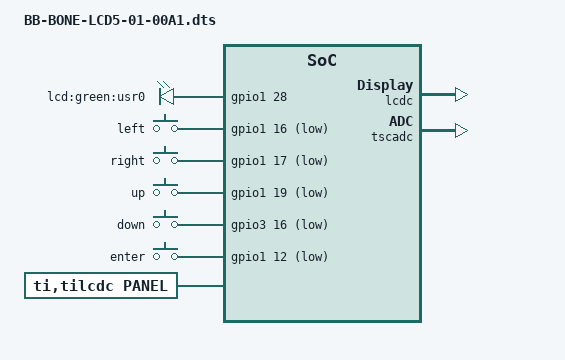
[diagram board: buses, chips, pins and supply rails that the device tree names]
/*
 * Copyright (C) 2016 Seeed Studio
 *
 * This program is free software; you can redistribute it and/or modify
 * it under the terms of the GNU General Public License version 2 as
 * published by the Free Software Foundation.
 */

/dts-v1/;
/plugin/;

#include <dt-bindings/gpio/gpio.h>
#include <dt-bindings/pinctrl/am33xx.h>
#include <dt-bindings/board/am335x-bbw-bbb-base.h>

/ {
	/*
	 * Helper to show loaded overlays under: /proc/device-tree/chosen/overlays/
	 */
	fragment@0 {
		target-path="/";
		__overlay__ {

			chosen {
				overlays {
					BB-BONE-LCD5-01-00A1 = __TIMESTAMP__;
				};
			};
		};
	};

	/*
	 * Free up the pins used by the cape from the pinmux helpers.
	 */
	fragment@1 {
		target = <&ocp>;
		__overlay__ {
			P9_12_pinmux { status = "disabled"; };	/* P9_12: gpmc_ben1.gpio1_28, INPUT | PULLDIS | MODE7 */

			P9_27_pinmux { status = "disabled"; };	/* P9_27: mcasp0_fsr.gpio3_19 */

			P8_45_pinmux { status = "disabled"; };	/* P8_45: lcd_data0.lcd_data0 */
			P8_46_pinmux { status = "disabled"; };	/* P8_46: lcd_data1.lcd_data1 */
			P8_43_pinmux { status = "disabled"; };	/* P8_43: lcd_data2.lcd_data2 */
			P8_44_pinmux { status = "disabled"; };	/* P8_44: lcd_data3.lcd_data3 */
			P8_41_pinmux { status = "disabled"; };	/* P8_41: lcd_data4.lcd_data4 */
			P8_42_pinmux { status = "disabled"; };	/* P8_42: lcd_data5.lcd_data5 */
			P8_39_pinmux { status = "disabled"; };	/* P8_39: lcd_data6.lcd_data6 */
			P8_40_pinmux { status = "disabled"; };	/* P8_40: lcd_data7.lcd_data7 */
			P8_37_pinmux { status = "disabled"; };	/* P8_37: lcd_data8.lcd_data8 */
			P8_38_pinmux { status = "disabled"; };	/* P8_38: lcd_data9.lcd_data9 */
			P8_36_pinmux { status = "disabled"; };	/* P8_36: lcd_data10.lcd_data10 */
			P8_34_pinmux { status = "disabled"; };	/* P8_34: lcd_data11.lcd_data11 */
			P8_35_pinmux { status = "disabled"; };	/* P8_35: lcd_data12.lcd_data12 */
			P8_33_pinmux { status = "disabled"; };	/* P8_33: lcd_data13.lcd_data13 */
			P8_31_pinmux { status = "disabled"; };	/* P8_31: lcd_data14.lcd_data14 */
			P8_32_pinmux { status = "disabled"; };	/* P8_32: lcd_data15.lcd_data15 */

			P8_27_pinmux { status = "disabled"; };	/* P8_27: lcd_vsync.lcd_vsync */
			P8_29_pinmux { status = "disabled"; };	/* P8_29: lcd_hsync.lcd_hsync */
			P8_28_pinmux { status = "disabled"; };	/* P8_28: lcd_pclk.lcd_pclk */
			P8_30_pinmux { status = "disabled"; };	/* P8_30: lcd_ac_bias_en.lcd_ac_bias_en */

			P9_15_pinmux { status = "disabled"; };	/* P9_15: gpmc_a0.gpio1_16 */
			P9_23_pinmux { status = "disabled"; };	/* P9_23: gpmc_a1.gpio1_17 */
			P9_16_pinmux { status = "disabled"; };	/* P9_16: gpmc_a3.gpio1_19 */
			P9_30_pinmux { status = "disabled"; };	/* P9_30: mcasp0_axr0.gpio3_16 */
			P8_12_pinmux { status = "disabled"; };	/* P8_12: GPIO.gpio1_13 */
		};
	};

	fragment@2 {
		target = <&am33xx_pinmux>;
		__overlay__ {

			bb_lcd_led_pins: pinmux_bb_lcd_led_pins {
				pinctrl-single,pins = <
					BONE_P9_12 (PIN_INPUT | MUX_MODE7)	/* P9_12: gpmc_ben1.gpio1_28, INPUT | PULLDIS | MODE7 */
				>;
			};

			bb_lcd_lcd_pins: pinmux_bb_lcd_lcd_pins {
				pinctrl-single,pins = <
					BONE_P9_27 (PIN_OUTPUT_PULLUP | MUX_MODE7)	/* P9_27: mcasp0_fsr.gpio3_19 */

					BONE_P8_45 (PIN_OUTPUT | MUX_MODE0)	/* P8_45: lcd_data0.lcd_data0 */
					BONE_P8_46 (PIN_OUTPUT | MUX_MODE0)	/* P8_46: lcd_data1.lcd_data1 */
					BONE_P8_43 (PIN_OUTPUT | MUX_MODE0)	/* P8_43: lcd_data2.lcd_data2 */
					BONE_P8_44 (PIN_OUTPUT | MUX_MODE0)	/* P8_44: lcd_data3.lcd_data3 */
					BONE_P8_41 (PIN_OUTPUT | MUX_MODE0)	/* P8_41: lcd_data4.lcd_data4 */
					BONE_P8_42 (PIN_OUTPUT | MUX_MODE0)	/* P8_42: lcd_data5.lcd_data5 */
					BONE_P8_39 (PIN_OUTPUT | MUX_MODE0)	/* P8_39: lcd_data6.lcd_data6 */
					BONE_P8_40 (PIN_OUTPUT | MUX_MODE0)	/* P8_40: lcd_data7.lcd_data7 */
					BONE_P8_37 (PIN_OUTPUT | MUX_MODE0)	/* P8_37: lcd_data8.lcd_data8 */
					BONE_P8_38 (PIN_OUTPUT | MUX_MODE0)	/* P8_38: lcd_data9.lcd_data9 */
					BONE_P8_36 (PIN_OUTPUT | MUX_MODE0)	/* P8_36: lcd_data10.lcd_data10 */
					BONE_P8_34 (PIN_OUTPUT | MUX_MODE0)	/* P8_34: lcd_data11.lcd_data11 */
					BONE_P8_35 (PIN_OUTPUT | MUX_MODE0)	/* P8_35: lcd_data12.lcd_data12 */
					BONE_P8_33 (PIN_OUTPUT | MUX_MODE0)	/* P8_33: lcd_data13.lcd_data13 */
					BONE_P8_31 (PIN_OUTPUT | MUX_MODE0)	/* P8_31: lcd_data14.lcd_data14 */
					BONE_P8_32 (PIN_OUTPUT | MUX_MODE0)	/* P8_32: lcd_data15.lcd_data15 */

					BONE_P8_27 (PIN_OUTPUT | MUX_MODE0)	/* P8_27: lcd_vsync.lcd_vsync */
					BONE_P8_29 (PIN_OUTPUT | MUX_MODE0)	/* P8_29: lcd_hsync.lcd_hsync */
					BONE_P8_28 (PIN_OUTPUT | MUX_MODE0)	/* P8_28: lcd_pclk.lcd_pclk */
					BONE_P8_30 (PIN_OUTPUT | MUX_MODE0)	/* P8_30: lcd_ac_bias_en.lcd_ac_bias_en */
				>;
			};

			bb_lcd_keymap_pins: pinmux_bb_lcd_keymap_pins {
				pinctrl-single,pins = <
					BONE_P9_15 (PIN_INPUT | MUX_MODE7)	/* P9_15: gpmc_a0.gpio1_16 */
					BONE_P9_23 (PIN_INPUT | MUX_MODE7)	/* P9_23: gpmc_a1.gpio1_17 */
					BONE_P9_16 (PIN_INPUT | MUX_MODE7)	/* P9_16: gpmc_a3.gpio1_19 */
					BONE_P9_30 (PIN_INPUT | MUX_MODE7)	/* P9_30: mcasp0_axr0.gpio3_16 */
					BONE_P8_12 (PIN_INPUT | MUX_MODE7)	/* P8_12: GPIO.gpio1_13 */
				>;
			};
		};
	};

	fragment@5 {
		target = <&lcdc>;
		__overlay__ {
			status = "okay";
		};
	};

	fragment@6 {
		target = <&tscadc>;
		__overlay__ {
			status = "okay";
			tsc {
				ti,wires = <4>;
				ti,x-plate-resistance = <200>;
				ti,coordinate-readouts = <5>;
				ti,wire-config = <0x00 0x11 0x22 0x33>;
				ti,charge-delay = <0x400>;
			};

			adc {
				ti,adc-channels = <4 5 6 7>;
			};
		};
	};

	fragment@7 {
		target-path="/";
		__overlay__ {
			gpio-leds-cape-lcd {
				compatible = "gpio-leds";
				pinctrl-names = "default";
				pinctrl-0 = <&bb_lcd_led_pins>;

				lcd-led0 {
					label = "lcd:green:usr0";
					gpios = <&gpio1 28 0>;
					linux,default-trigger = "heartbeat";
					default-state = "off";
				};
			};

			gpio_keys {
				compatible = "gpio-keys";
				pinctrl-names = "default";
				pinctrl-0 = <&bb_lcd_keymap_pins>;

				button@1 {
					debounce_interval = <50>;
					linux,code = <105>;
					label = "left";
					gpios = <&gpio1 16 0x1>;
					gpio-key,wakeup;
					autorepeat;
				};
				button@2 {
					debounce_interval = <50>;
					linux,code = <106>;
					label = "right";
					gpios = <&gpio1 17 0x1>;
					gpio-key,wakeup;
					autorepeat;
				};
				button@3 {
					debounce_interval = <50>;
					linux,code = <103>;
					label = "up";
					gpios = <&gpio1 19 0x1>;
					gpio-key,wakeup;
					autorepeat;
				};
				button@4 {
					debounce_interval = <50>;
					linux,code = <108>;
					label = "down";
					gpios = <&gpio3 16 0x1>;
					gpio-key,wakeup;
					autorepeat;
				};
				button@5 {
					debounce_interval = <50>;
					linux,code = <28>;
					label = "enter";
					gpios = <&gpio1 12 0x1>;
					gpio-key,wakeup;
					autorepeat;
				};
			};

			panel {
				status = "okay";
				compatible = "ti,tilcdc,panel";
				pinctrl-names = "default";
				pinctrl-0 = <&bb_lcd_lcd_pins>;
				panel-info {
					ac-bias           = <255>;
					ac-bias-intrpt    = <0>;
					dma-burst-sz      = <16>;
					bpp               = <16>;
					fdd               = <0x80>;
					sync-edge         = <0>;
					sync-ctrl         = <1>;
					raster-order      = <0>;
					fifo-th           = <0>;
				};
				display-timings {
					native-mode = <&timing0>;
					timing0: 800x480 {
						hactive         = <800>;
						vactive         = <480>;
						hback-porch     = <40>;
						hfront-porch    = <40>;
						hsync-len       = <48>;
						vback-porch     = <30>;
						vfront-porch    = <13>;
						vsync-len       = <3>;
						clock-frequency = <30000000>;
						hsync-active    = <0>;
						vsync-active    = <0>;
					};
				};
			};
		};
	};
};
